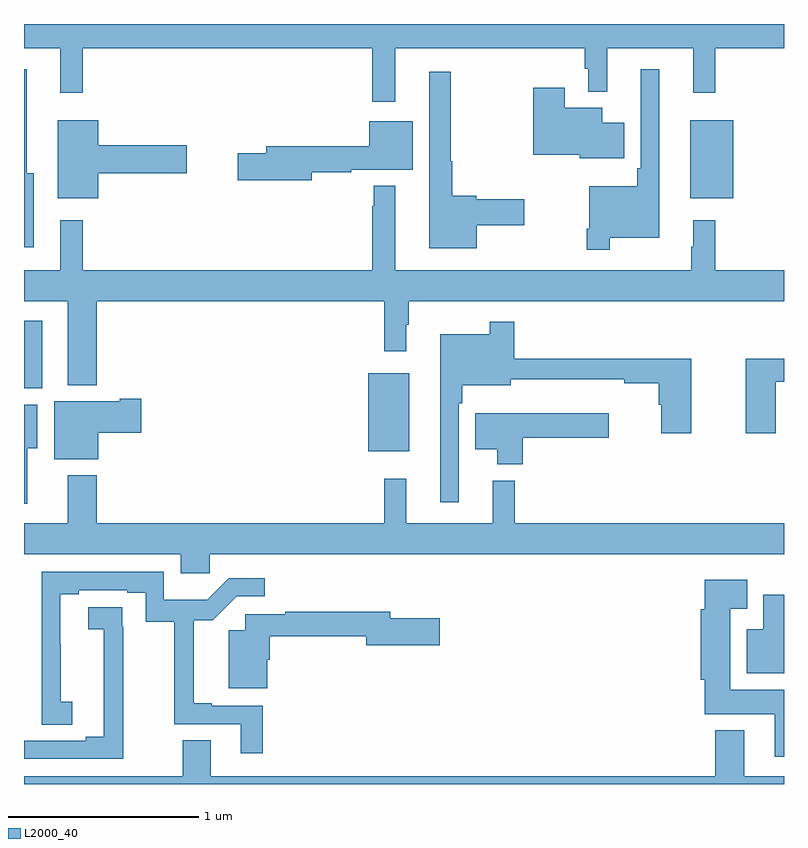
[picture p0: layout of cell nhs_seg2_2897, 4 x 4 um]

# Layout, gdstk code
import gdstk
lib = gdstk.Library(unit=1e-6, precision=1e-09)
def R(c, l, rs):  # rectangles x0, y0, x1, y1
    for r in rs: c.add(gdstk.rectangle(r[:2], r[2:], *l))
def P(c, l, *ps):  # polygons
    for p in ps: c.add(gdstk.Polygon(p, *l))
L2000_40 = (2000, 40)

nhs_seg2_2897 = lib.new_cell('nhs_seg2_2897')
R(nhs_seg2_2897, L2000_40, [(264.812,609.551,265.027,609.961), (263,609.884,263.095,610.237), (266.507,610.883,266.734,611.293)])
P(nhs_seg2_2897, L2000_40, [(264.955,611.672),(265.951,611.672),(265.951,611.565),(265.971,611.565),(265.971,611.444),(266.069,611.444),(266.069,611.672),(266.522,611.672),(266.522,611.439),(266.639,611.439),(266.639,611.672),(267,611.672),(267,611.8),(263,611.8),(263,611.672),(263.192,611.672),(263.192,611.439),(263.309,611.439),(263.309,611.672),(264.834,611.672),(264.834,611.391),(264.955,611.391)],
  [(266.083,610.676),(266.344,610.676),(266.344,611.563),(266.247,611.563),(266.247,611.041),(266.227,611.041),(266.227,610.945),(265.974,610.945),(265.974,610.723),(265.962,610.723),(265.962,610.611),(266.083,610.611)],
  [(263.05,611.014),(263.014,611.014),(263.014,611.563),(263,611.563),(263,610.626),(263.05,610.626)],
  [(265.384,610.742),(265.633,610.742),(265.633,610.877),(265.38,610.877),(265.38,610.895),(265.255,610.895),(265.255,611.078),(265.247,611.078),(265.247,611.548),(265.133,611.548),(265.133,610.619),(265.384,610.619)],
  [(266.158,611.281),(266.044,611.281),(266.044,611.359),(265.846,611.359),(265.846,611.464),(265.681,611.464),(265.681,611.111),(265.926,611.111),(265.926,611.093),(266.158,611.093)],
  [(263.392,611.015),(263.857,611.015),(263.857,611.162),(263.392,611.162),(263.392,611.293),(263.177,611.293),(263.177,610.883),(263.392,610.883)],
  [(264.514,611.02),(264.722,611.02),(264.722,611.033),(265.045,611.033),(265.045,611.287),(264.818,611.287),(264.818,611.156),(264.275,611.156),(264.275,611.12),(264.126,611.12),(264.126,610.978),(264.514,610.978)],
  [(266.522,610.768),(266.522,610.628),(266.511,610.628),(266.511,610.504),(264.955,610.504),(264.955,610.948),(264.84,610.948),(264.84,610.841),(264.834,610.841),(264.834,610.504),(263.309,610.504),(263.309,610.768),(263.192,610.768),(263.192,610.504),(263,610.504),(263,610.34),(263.231,610.34),(263.231,609.899),(263.384,609.899),(263.384,610.34),(264.895,610.34),(264.895,610.077),(265.012,610.077),(265.012,610.217),(265.024,610.217),(265.024,610.34),(267,610.34),(267,610.504),(266.639,610.504),(266.639,610.768)],
  [(265.287,609.803),(265.307,609.803),(265.307,609.899),(265.561,609.899),(265.561,609.929),(266.158,609.929),(266.158,609.91),(266.342,609.91),(266.342,609.795),(266.354,609.795),(266.354,609.645),(266.512,609.645),(266.512,610.039),(265.58,610.039),(265.58,610.234),(265.452,610.234),(265.452,610.168),(265.19,610.168),(265.19,609.282),(265.287,609.282)],
  [(266.956,609.917),(267,609.917),(267,610.039),(266.798,610.039),(266.798,609.645),(266.956,609.645)],
  [(263.392,609.649),(263.617,609.649),(263.617,609.827),(263.504,609.827),(263.504,609.814),(263.159,609.814),(263.159,609.509),(263.392,609.509)],
  [(263.017,609.566),(263.071,609.566),(263.071,609.796),(263,609.796),(263,609.276),(263.017,609.276)],
  [(265.625,609.622),(266.077,609.622),(266.077,609.751),(265.376,609.751),(265.376,609.563),(265.49,609.563),(265.49,609.482),(265.625,609.482)],
  [(267,609.172),(265.583,609.172),(265.583,609.397),(265.466,609.397),(265.466,609.172),(265.013,609.172),(265.013,609.406),(264.895,609.406),(264.895,609.172),(263.384,609.172),(263.384,609.424),(263.231,609.424),(263.231,609.172),(263,609.172),(263,609.008),(263.825,609.008),(263.825,608.91),(263.977,608.91),(263.977,609.008),(267,609.008)],
  [(264.257,608.211),(263.989,608.211),(263.989,608.224),(263.894,608.224),(263.894,608.661),(263.993,608.661),(264.12,608.787),(264.268,608.787),(264.268,608.883),(264.078,608.883),(263.965,608.77),(263.736,608.77),(263.736,608.916),(263.094,608.916),(263.094,608.113),(263.254,608.113),(263.254,608.233),(263.193,608.233),(263.193,608.537),(263.191,608.537),(263.191,608.8),(263.287,608.8),(263.287,608.82),(263.543,608.82),(263.543,608.806),(263.64,608.806),(263.64,608.653),(263.791,608.653),(263.791,608.115),(264.14,608.115),(264.14,607.962),(264.257,607.962)],
  [(267,608.296),(266.716,608.296),(266.716,608.723),(266.806,608.723),(266.806,608.875),(266.582,608.875),(266.582,608.721),(266.561,608.721),(266.561,608.349),(266.582,608.349),(266.582,608.168),(266.951,608.168),(266.951,607.944),(267,607.944)],
  [(267,608.797),(266.891,608.797),(266.891,608.614),(266.804,608.614),(266.804,608.384),(267,608.384)],
  [(263.522,608.627),(263.516,608.627),(263.516,608.729),(263.337,608.729),(263.337,608.614),(263.419,608.614),(263.419,608.331),(263.42,608.331),(263.42,608.048),(263.324,608.048),(263.324,608.028),(263,608.028),(263,607.932),(263.522,607.932)],
  [(264.28,608.454),(264.293,608.454),(264.293,608.578),(264.8,608.578),(264.8,608.531),(265.189,608.531),(265.189,608.673),(264.928,608.673),(264.928,608.707),(264.376,608.707),(264.376,608.694),(264.165,608.694),(264.165,608.608),(264.077,608.608),(264.077,608.303),(264.28,608.303)],
  [(267,607.84),(266.791,607.84),(266.791,608.083),(266.639,608.083),(266.639,607.84),(263.983,607.84),(263.983,608.03),(263.836,608.03),(263.836,607.84),(263,607.84),(263,607.8),(267,607.8)])

lib.write_gds('nhs_seg2_2897.gds')
